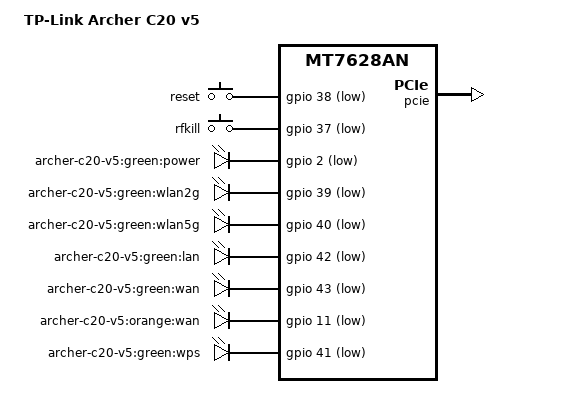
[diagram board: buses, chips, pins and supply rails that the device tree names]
// SPDX-License-Identifier: GPL-2.0-or-later OR MIT
/dts-v1/;

#include "mt7628an_tplink_8m-split-uboot.dtsi"

/ {
	compatible = "tplink,archer-c20-v5", "mediatek,mt7628an-soc";
	model = "TP-Link Archer C20 v5";

	aliases {
		led-boot = &led_power;
		led-failsafe = &led_power;
		led-running = &led_power;
		led-upgrade = &led_power;
	};

	keys {
		compatible = "gpio-keys";

		reset {
			label = "reset";
			gpios = <&gpio 38 GPIO_ACTIVE_LOW>;
			linux,code = <KEY_RESTART>;
		};

		rfkill {
			label = "rfkill";
			gpios = <&gpio 37 GPIO_ACTIVE_LOW>;
			linux,code = <KEY_RFKILL>;
		};
	};

	leds {
		compatible = "gpio-leds";

		led_power: power {
			label = "archer-c20-v5:green:power";
			gpios = <&gpio 2 GPIO_ACTIVE_LOW>;
		};

		wlan2g {
			label = "archer-c20-v5:green:wlan2g";
			gpios = <&gpio 39 GPIO_ACTIVE_LOW>;
			linux,default-trigger = "phy0tpt";
		};

		wlan5g {
			label = "archer-c20-v5:green:wlan5g";
			gpios = <&gpio 40 GPIO_ACTIVE_LOW>;
			linux,default-trigger = "phy1tpt";
		};

		lan {
			label = "archer-c20-v5:green:lan";
			gpios = <&gpio 42 GPIO_ACTIVE_LOW>;
		};

		wan_green {
			label = "archer-c20-v5:green:wan";
			gpios = <&gpio 43 GPIO_ACTIVE_LOW>;
		};

		wan_orange {
			label = "archer-c20-v5:orange:wan";
			gpios = <&gpio 11 GPIO_ACTIVE_LOW>;
		};

		wps {
			label = "archer-c20-v5:green:wps";
			gpios = <&gpio 41 GPIO_ACTIVE_LOW>;
		};
	};
};

&state_default {
	gpio {
		groups = "i2s", "gpio", "refclk", "p0led_an", "p1led_an",
					"p2led_an", "p3led_an", "p4led_an", "wdt";
		function = "gpio";
	};
};

&pcie {
	status = "okay";
};

&pcie0 {
	wifi@0,0 {
		reg = <0x0000 0 0 0 0>;
		mediatek,mtd-eeprom = <&radio 0x8000>;
		ieee80211-freq-limit = <5000000 6000000>;
		mtd-mac-address = <&rom 0xf100>;
		mtd-mac-address-increment = <(-1)>;
	};
};
